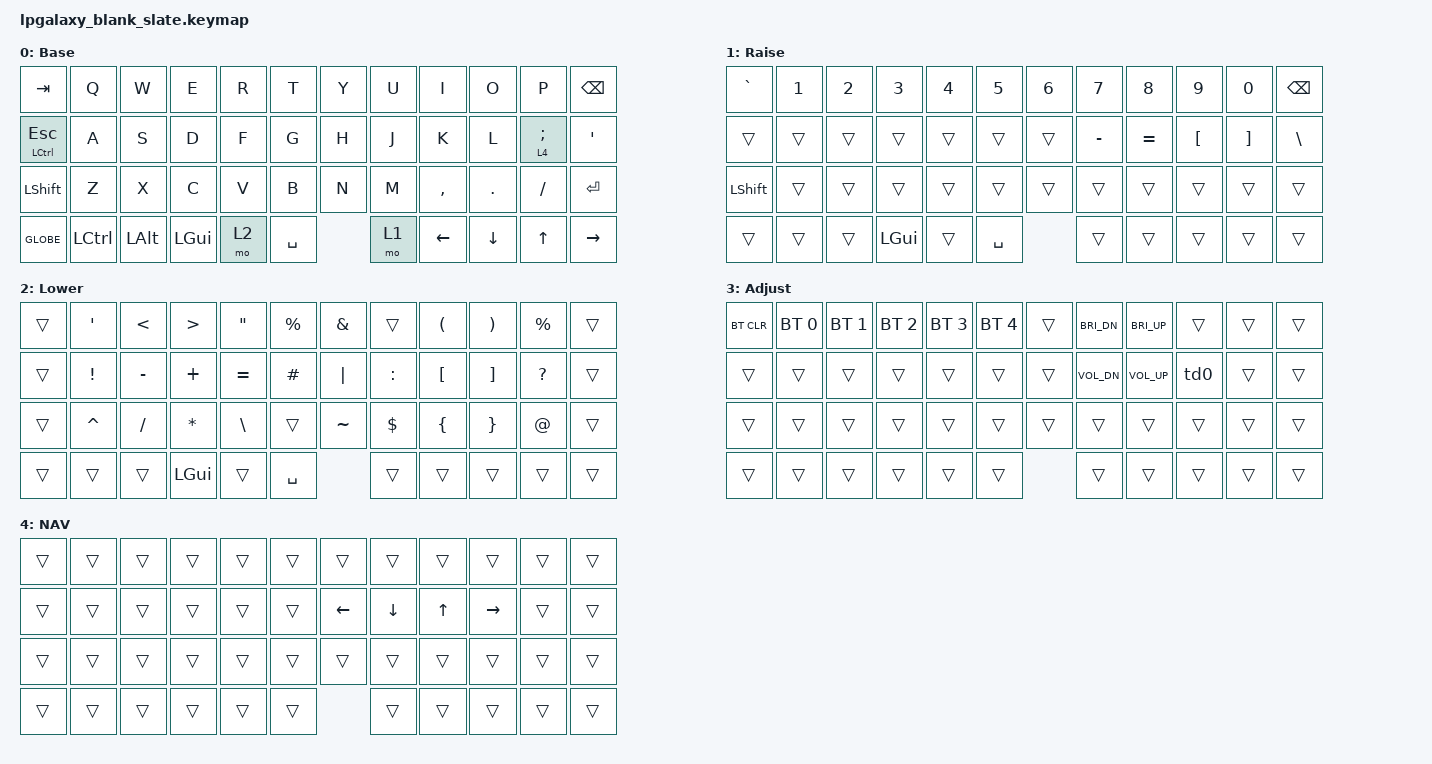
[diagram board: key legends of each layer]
/*
 * Copyright (c) 2022 Pete Johanson
 *
 * SPDX-License-Identifier: MIT
 */

#include <behaviors.dtsi>
#include <dt-bindings/zmk/keys.h>
#include <dt-bindings/zmk/bt.h>
#include <dt-bindings/zmk/outputs.h>

#define BT(n) BT_SEL n

&lt {
    tapping-term-ms = <150>;
};

&mt {
    tapping-term-ms = <150>;
    flavor = "tap-preferred";
};

/ {
    chosen {
       zmk,physical-layout = &layout_ortho_4x12_1x2u;
    };

    behaviors {
        td0: td0 {
            compatible = "zmk,behavior-tap-dance";
            label = "tap-dance-media";
            #binding-cells = <0>;
            bindings = <&kp C_PLAY_PAUSE>, <&kp C_NEXT>, <&kp C_PREV>;
        };
    };

    combos {
        compatible = "zmk,combos";

        spotlight {
            bindings = <&kp LG(SPACE)>;
            key-positions = <16 15>;
            layers = <2>;
        };

        screenshot {
            bindings = <&kp LS(LG(NUMBER_4))>;
            key-positions = <17 16>;
            layers = <2>;
        };

        word-bksp {
            bindings = <&kp LA(BACKSPACE)>;
            key-positions = <11 10>;
        };
    };

    keymap {
        compatible = "zmk,keymap";

        base_layer {
            label = "Base";
            bindings = <

 &kp TAB          &kp Q      &kp W      &kp E       &kp R          &kp T          &kp Y            &kp U          &kp I       &kp O      &kp P                &kp BSPC
 &mt LCTRL ESC    &kp A      &kp S      &kp D       &kp F          &kp G          &kp H            &kp J          &kp K       &kp L      &lt 4 SEMICOLON      &kp SQT
 &kp LSHFT        &kp Z      &kp X      &kp C       &kp V          &kp B          &kp N            &kp M          &kp COMMA   &kp DOT    &kp FSLH             &kp RET
 &kp GLOBE        &kp LCTRL  &kp LALT   &kp LGUI    &mo 2               &kp SPACE                  &mo 1          &kp LEFT    &kp DOWN   &kp UP               &kp RIGHT
            >;
        };

        raise_layer {
            label = "Raise";
            bindings = <
&kp GRAVE  &kp N1     &kp N2     &kp N3      &kp N4          &kp N5       &kp N6     &kp N7          &kp N8       &kp N9            &kp N0             &kp BSPC
&trans     &trans     &trans     &trans      &trans          &trans       &trans     &kp MINUS       &kp EQUAL    &kp LEFT_BRACKET  &kp RIGHT_BRACKET  &kp BACKSLASH
&kp LSHFT  &trans     &trans     &trans      &trans          &trans       &trans     &trans          &trans       &trans            &trans             &trans
&trans     &trans     &trans     &kp LGUI    &trans               &kp SPACE          &trans          &trans       &trans            &trans             &trans
            >;
        };

        lower_layer {
            label = "Lower";
            bindings = <
&trans  &kp SINGLE_QUOTE  &kp LESS_THAN  &kp GREATER_THAN  &kp DOUBLE_QUOTES  &kp PERCENT    &kp AMPERSAND  &trans      &kp LEFT_PARENTHESIS  &kp RIGHT_PARENTHESIS  &kp PERCENT   &trans
&trans  &kp EXCL          &kp MINUS      &kp PLUS          &kp EQUAL          &kp HASH       &kp PIPE       &kp COLON   &kp LEFT_BRACKET      &kp RIGHT_BRACKET      &kp QUESTION  &trans
&trans  &kp CARET         &kp SLASH      &kp ASTERISK      &kp BACKSLASH      &trans         &kp TILDE      &kp DOLLAR  &kp LEFT_BRACE        &kp RIGHT_BRACE        &kp AT        &trans
&trans  &trans            &trans         &kp LGUI          &trans                   &kp SPACE               &trans      &trans                &trans                 &trans        &trans
            >;
        };

        adj_layer {
            label = "Adjust";
            bindings = <
&bt BT_CLR  &bt BT_SEL 0  &bt BT_SEL 1  &bt BT_SEL 2  &bt BT_SEL 3  &bt BT_SEL 4    &trans  &kp C_BRI_DN  &kp C_BRI_UP  &trans  &trans  &trans
&trans      &trans        &trans        &trans        &trans        &trans          &trans  &kp C_VOL_DN  &kp C_VOL_UP  &td0    &trans  &trans
&trans      &trans        &trans        &trans        &trans        &trans          &trans  &trans        &trans        &trans  &trans  &trans
&trans      &trans        &trans        &trans        &trans                &trans          &trans        &trans        &trans  &trans  &trans
            >;
        };

        NAV {
            bindings = <
&trans  &trans  &trans  &trans  &trans  &trans    &trans    &trans    &trans  &trans     &trans  &trans
&trans  &trans  &trans  &trans  &trans  &trans    &kp LEFT  &kp DOWN  &kp UP  &kp RIGHT  &trans  &trans
&trans  &trans  &trans  &trans  &trans  &trans    &trans    &trans    &trans  &trans     &trans  &trans
&trans  &trans  &trans  &trans  &trans       &trans         &trans    &trans  &trans     &trans  &trans
            >;
        };
    };

    conditional_layers {
        compatible = "zmk,conditional-layers";

        tri_layer {
            if-layers = <1 2>;
            then-layer = <3>;
        };
    };
};

